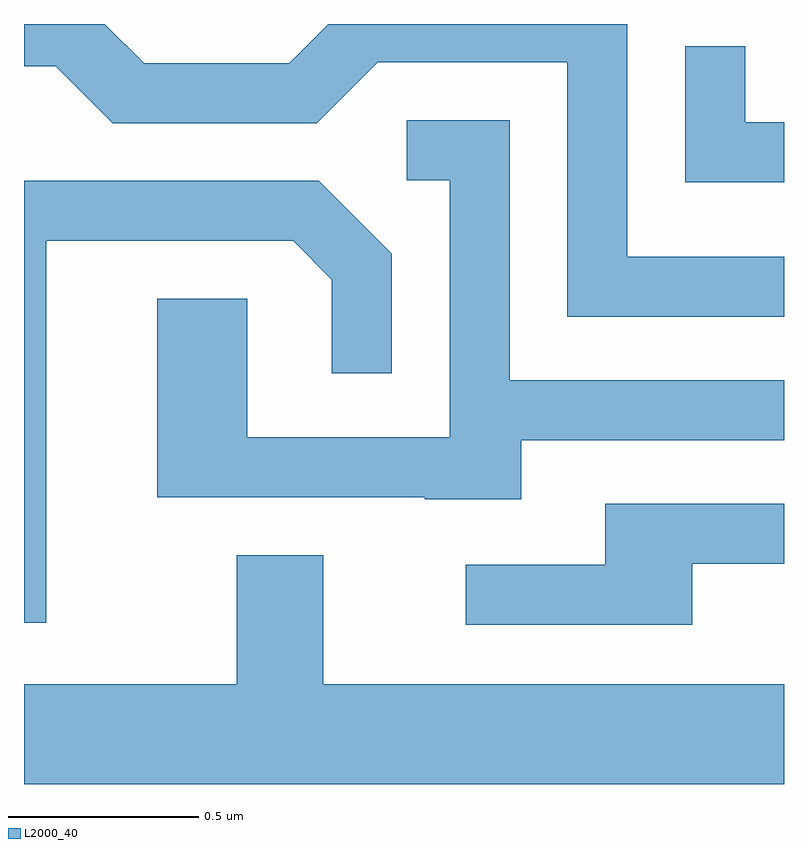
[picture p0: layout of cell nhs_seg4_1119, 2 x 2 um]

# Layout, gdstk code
import gdstk
lib = gdstk.Library(unit=1e-6, precision=1e-09)
def P(c, l, *ps):  # polygons
    for p in ps: c.add(gdstk.Polygon(p, *l))
L2000_40 = (2000, 40)

nhs_seg4_1119 = lib.new_cell('nhs_seg4_1119')
P(nhs_seg4_1119, L2000_40, [(195.611,1278.369),(195.199,1278.369),(195.199,1278.982),(194.412,1278.982),(194.309,1278.879),(193.927,1278.879),(193.824,1278.982),(193.611,1278.982),(193.611,1278.871),(193.694,1278.871),(193.844,1278.721),(194.382,1278.721),(194.542,1278.881),(195.041,1278.881),(195.041,1278.211),(195.611,1278.211)],
  [(195.611,1278.724),(195.509,1278.724),(195.509,1278.923),(195.351,1278.923),(195.351,1278.566),(195.611,1278.566)],
  [(194.919,1277.886),(195.611,1277.886),(195.611,1278.044),(194.889,1278.044),(194.889,1278.729),(194.618,1278.729),(194.618,1278.571),(194.731,1278.571),(194.731,1277.894),(194.199,1277.894),(194.199,1278.259),(193.961,1278.259),(193.961,1277.736),(194.665,1277.736),(194.665,1277.731),(194.919,1277.731)],
  [(193.669,1278.411),(194.319,1278.411),(194.421,1278.309),(194.421,1278.063),(194.579,1278.063),(194.579,1278.377),(194.387,1278.569),(193.611,1278.569),(193.611,1277.406),(193.669,1277.406)],
  [(195.369,1277.561),(195.611,1277.561),(195.611,1277.719),(195.141,1277.719),(195.141,1277.559),(194.773,1277.559),(194.773,1277.401),(195.369,1277.401)],
  [(195.611,1277.244),(194.399,1277.244),(194.399,1277.584),(194.171,1277.584),(194.171,1277.244),(193.611,1277.244),(193.611,1276.982),(195.611,1276.982)])

lib.write_gds('nhs_seg4_1119.gds')
